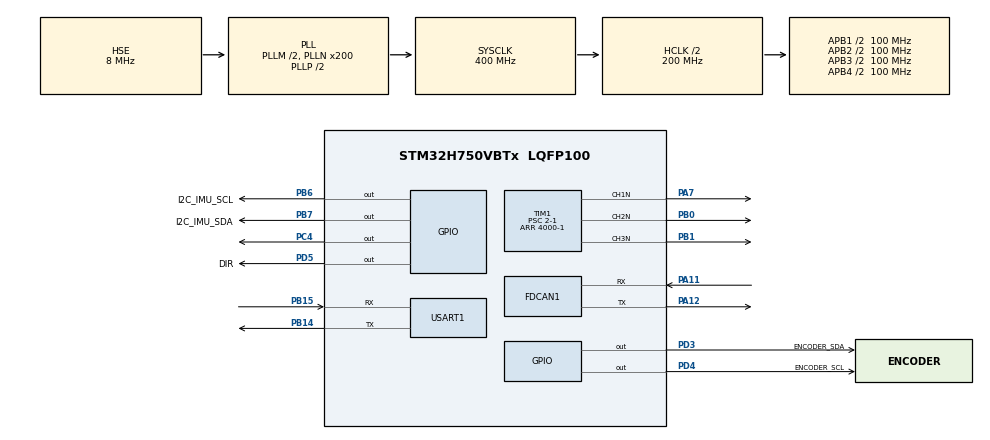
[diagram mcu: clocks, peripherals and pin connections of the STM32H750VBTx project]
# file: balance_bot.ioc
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Dma.Request0=USART1_RX
Dma.Request1=USART1_TX
Dma.USART1_RX.0.Direction=DMA_PERIPH_TO_MEMORY
Dma.USART1_RX.0.EventEnable=DISABLE
Dma.USART1_RX.0.FIFOMode=DMA_FIFOMODE_DISABLE
Dma.USART1_RX.0.Instance=DMA1_Stream4
Dma.USART1_RX.0.MemDataAlignment=DMA_MDATAALIGN_BYTE
Dma.USART1_RX.0.MemInc=DMA_MINC_ENABLE
Dma.USART1_RX.0.Mode=DMA_NORMAL
Dma.USART1_RX.0.PeriphDataAlignment=DMA_PDATAALIGN_BYTE
Dma.USART1_RX.0.PeriphInc=DMA_PINC_DISABLE
Dma.USART1_RX.0.Polarity=HAL_DMAMUX_REQ_GEN_RISING
Dma.USART1_RX.0.Priority=DMA_PRIORITY_LOW
Dma.USART1_RX.0.RequestNumber=1
Dma.USART1_RX.0.SignalID=NONE
Dma.USART1_RX.0.SyncEnable=DISABLE
Dma.USART1_RX.0.SyncPolarity=HAL_DMAMUX_SYNC_NO_EVENT
Dma.USART1_RX.0.SyncRequestNumber=1
Dma.USART1_RX.0.SyncSignalID=NONE
Dma.USART1_TX.1.Direction=DMA_MEMORY_TO_PERIPH
Dma.USART1_TX.1.EventEnable=DISABLE
Dma.USART1_TX.1.FIFOMode=DMA_FIFOMODE_DISABLE
Dma.USART1_TX.1.Instance=DMA1_Stream3
Dma.USART1_TX.1.MemDataAlignment=DMA_MDATAALIGN_BYTE
Dma.USART1_TX.1.MemInc=DMA_MINC_ENABLE
Dma.USART1_TX.1.Mode=DMA_NORMAL
Dma.USART1_TX.1.PeriphDataAlignment=DMA_PDATAALIGN_BYTE
Dma.USART1_TX.1.PeriphInc=DMA_PINC_DISABLE
Dma.USART1_TX.1.Polarity=HAL_DMAMUX_REQ_GEN_RISING
Dma.USART1_TX.1.Priority=DMA_PRIORITY_LOW
Dma.USART1_TX.1.RequestNumber=1
Dma.USART1_TX.1.SignalID=NONE
Dma.USART1_TX.1.SyncEnable=DISABLE
Dma.USART1_TX.1.SyncPolarity=HAL_DMAMUX_SYNC_NO_EVENT
Dma.USART1_TX.1.SyncRequestNumber=1
Dma.USART1_TX.1.SyncSignalID=NONE
FDCAN1.CalculateBaudRateNominal=1000000
FDCAN1.CalculateTimeBitNominal=1000
FDCAN1.CalculateTimeQuantumNominal=50.0
FDCAN1.DataPrescaler=5
FDCAN1.DataSyncJumpWidth=5
FDCAN1.DataTimeSeg1=14
FDCAN1.DataTimeSeg2=5
FDCAN1.NominalPrescaler=5
FDCAN1.NominalSyncJumpWidth=5
FDCAN1.NominalTimeSeg1=14
FDCAN1.NominalTimeSeg2=5
FDCAN1.RxFifo0ElmtsNbr=3
FDCAN1.RxFifo1ElmtsNbr=3
FDCAN1.StdFiltersNbr=2
FDCAN1.TxFifoQueueElmtsNbr=6
FREERTOS.Tasks01=defaultTask,24,128,StartDefaultTask,Default,NULL,Dynamic,NULL,NULL;InstanceTask,24,256,StartInstanceTask,Default,NULL,Dynamic,NULL,NULL;PeripheralTask,24,1024,StartPeripheralTask,Default,NULL,Dynamic,NULL,NULL;WatchDogTask,24,128,StartWatchDogTask,Default,NULL,Dynamic,NULL,NULL
Mcu.Family=STM32H7
Mcu.Name=STM32H750VBTx
Mcu.Package=LQFP100
NVIC.DMA1_Stream3_IRQn=true\:5\:0\:false\:false\:true\:true\:false\:true\:true
NVIC.DMA1_Stream4_IRQn=true\:5\:0\:false\:false\:true\:true\:false\:true\:true
NVIC.FDCAN1_IT0_IRQn=true\:5\:0\:false\:false\:true\:true\:true\:true\:true
NVIC.FDCAN1_IT1_IRQn=true\:5\:0\:false\:false\:true\:true\:true\:true\:true
NVIC.FDCAN_CAL_IRQn=true\:5\:0\:false\:false\:true\:true\:true\:true\:true
NVIC.PriorityGroup=NVIC_PRIORITYGROUP_4
NVIC.TIM7_IRQn=true\:15\:0\:false\:false\:true\:false\:false\:true\:true
NVIC.TimeBase=TIM7_IRQn
NVIC.TimeBaseIP=TIM7
NVIC.USART1_IRQn=true\:5\:0\:true\:false\:true\:true\:true\:true\:true
PA11.Mode=FDCAN_Activate
PA11.Signal=FDCAN1_RX
PA12.Mode=FDCAN_Activate
PA12.Signal=FDCAN1_TX
PA7.Mode=PWM Generation1 CH1N
PA7.Signal=TIM1_CH1N
PB0.Mode=PWM Generation2 CH2N
PB0.Signal=TIM1_CH2N
PB1.Mode=PWM Generation3 CH3N
PB1.Signal=TIM1_CH3N
PB14.Mode=Asynchronous
PB14.Signal=USART1_TX
PB15.Mode=Asynchronous
PB15.Signal=USART1_RX
PB6.GPIO_Label=I2C_IMU_SCL
PB6.GPIO_Speed=GPIO_SPEED_FREQ_MEDIUM
PB6.Signal=GPIO_Output
PB7.GPIO_FM7=__NULL
PB7.GPIO_Label=I2C_IMU_SDA
PB7.GPIO_Speed=GPIO_SPEED_FREQ_MEDIUM
PB7.Signal=GPIO_Output
PC4.Signal=GPIO_Output
PD3.GPIO_Label=ENCODER_SDA
PD3.Signal=GPIO_Output
PD4.GPIO_Label=ENCODER_SCL
PD4.Signal=GPIO_Output
PD5.GPIO_Label=DIR
PD5.Signal=GPIO_Output
PH0-OSC_IN\ (PH0).Mode=HSE-External-Oscillator
PH0-OSC_IN\ (PH0).Signal=RCC_OSC_IN
PH1-OSC_OUT\ (PH1).Mode=HSE-External-Oscillator
PH1-OSC_OUT\ (PH1).Signal=RCC_OSC_OUT
ProjectManager.HeapSize=0x200
ProjectManager.StackSize=0x400
ProjectManager.TargetToolchain=Makefile
RCC.ADCFreq_Value=16125000
RCC.APB1Freq_Value=100000000
RCC.APB2Freq_Value=100000000
RCC.APB3Freq_Value=100000000
RCC.APB4Freq_Value=100000000
RCC.CortexFreq_Value=400000000
RCC.D1PPRE=RCC_APB3_DIV2
RCC.D2PPRE1=RCC_APB1_DIV2
RCC.D2PPRE2=RCC_APB2_DIV2
RCC.D3PPRE=RCC_APB4_DIV2
RCC.DIVM1=2
RCC.DIVN1=200
RCC.DIVQ1=8
RCC.HCLKFreq_Value=200000000
RCC.HPRE=RCC_HCLK_DIV2
RCC.HSE_VALUE=8000000
RCC.PLLFRACN=0
RCC.PLLSourceVirtual=RCC_PLLSOURCE_HSE
RCC.SYSCLKFreq_VALUE=400000000
RCC.SYSCLKSource=RCC_SYSCLKSOURCE_PLLCLK
RCC.USBFreq_Value=100000000
TIM1.Channel-PWM\ Generation1\ CH1N=TIM_CHANNEL_1
TIM1.Channel-PWM\ Generation2\ CH2N=TIM_CHANNEL_2
TIM1.Channel-PWM\ Generation3\ CH3N=TIM_CHANNEL_3
TIM1.CounterMode=TIM_COUNTERMODE_CENTERALIGNED1
TIM1.OC2Preload_PWM=ENABLE
TIM1.Period=4000-1
TIM1.Prescaler=2-1
TIM4.Prescaler=200-1
USART1.FIFOMode=FIFOMODE_DISABLE
USART1.VirtualMode-Asynchronous=VM_ASYNC
VP_FREERTOS_VS_CMSIS_V2.Mode=CMSIS_V2
VP_SYS_VS_tim7.Mode=TIM7
VP_TIM1_VS_ClockSourceINT.Mode=Internal
VP_TIM4_VS_ClockSourceINT.Mode=Internal
board=custom

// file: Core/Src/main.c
/* USER CODE BEGIN Header */
/**
  ******************************************************************************
  * @file           : main.c
  * @brief          : Main program body
  ******************************************************************************
  * @attention
  *
  * Copyright (c) 2023 STMicroelectronics.
  * All rights reserved.
  *
  * This software is licensed under terms that can be found in the LICENSE file
  * in the root directory of this software component.
  * If no LICENSE file comes with this software, it is provided AS-IS.
  *
  ******************************************************************************
  */
/* USER CODE END Header */
#include "main.h"
#include "cmsis_os.h"
#include "dma.h"
#include "fdcan.h"
#include "tim.h"
#include "usart.h"
#include "gpio.h"

/* USER CODE BEGIN Includes */
#include "myfunc.h"
#include "bsp.h"
#include "module.h"
#include "instance.h"
#include "stm32h7xx_hal_usart.h"

/* USER CODE END Includes */

/* USER CODE BEGIN PV */
uint32_t tick = 0;
uint32_t time = 0;

/* USER CODE END PV */

void SystemClock_Config(void);
void MX_FREERTOS_Init(void);

int main(void)
{

  /* MCU Configuration--------------------------------------------------------*/

  /* Reset of all peripherals, Initializes the Flash interface and the Systick. */
  HAL_Init();

  /* Configure the system clock */
  SystemClock_Config();

  /* Initialize all configured peripherals */
  MX_GPIO_Init();
  MX_USART1_UART_Init();
  MX_DMA_Init();
  MX_TIM1_Init();
  MX_FDCAN1_Init();
  MX_TIM4_Init();
  /* USER CODE BEGIN 2 */
  BSP_Init();
  Module_Init();
  Instance_init();
// HAL_DMA_DeInit(huart1.hdmarx);
// HAL_DMA_DeInit(huart1.hdmatx);
// HAL_DMA_Init(huart1.hdmarx);
// HAL_DMA_Init(huart1.hdmatx);
//   HAL_UART_DMAStop(&huart1);
//   HAL_UART_Receive_DMA(&huart1, rxbuf, 100);

  //__USART_DISABLE_IT(&huart1, UART_IT_ERR);

  /* USER CODE END 2 */

  /* Init scheduler */
  osKernelInitialize();  /* Call init function for freertos objects (in freertos.c) */
  MX_FREERTOS_Init();

  /* Start scheduler */
  osKernelStart();

  /* We should never get here as control is now taken by the scheduler */
  /* Infinite loop */
  while (1)
  {

  }
}

void SystemClock_Config(void)
{
  RCC_OscInitTypeDef RCC_OscInitStruct = {0};
  RCC_ClkInitTypeDef RCC_ClkInitStruct = {0};

  /** Supply configuration update enable
  */
  HAL_PWREx_ConfigSupply(PWR_LDO_SUPPLY);

  /** Configure the main internal regulator output voltage
  */
  __HAL_PWR_VOLTAGESCALING_CONFIG(PWR_REGULATOR_VOLTAGE_SCALE1);

  while(!__HAL_PWR_GET_FLAG(PWR_FLAG_VOSRDY)) {}

  /** Initializes the RCC Oscillators according to the specified parameters
  * in the RCC_OscInitTypeDef structure.
  */
  RCC_OscInitStruct.OscillatorType = RCC_OSCILLATORTYPE_HSE;
  RCC_OscInitStruct.HSEState = RCC_HSE_ON;
  RCC_OscInitStruct.PLL.PLLState = RCC_PLL_ON;
  RCC_OscInitStruct.PLL.PLLSource = RCC_PLLSOURCE_HSE;
  RCC_OscInitStruct.PLL.PLLM = 2;
  RCC_OscInitStruct.PLL.PLLN = 200;
  RCC_OscInitStruct.PLL.PLLP = 2;
  RCC_OscInitStruct.PLL.PLLQ = 8;
  RCC_OscInitStruct.PLL.PLLR = 2;
  RCC_OscInitStruct.PLL.PLLRGE = RCC_PLL1VCIRANGE_2;
  RCC_OscInitStruct.PLL.PLLVCOSEL = RCC_PLL1VCOWIDE;
  RCC_OscInitStruct.PLL.PLLFRACN = 0;
  if (HAL_RCC_OscConfig(&RCC_OscInitStruct) != HAL_OK)
  {
    Error_Handler();
  }

  /** Initializes the CPU, AHB and APB buses clocks
  */
  RCC_ClkInitStruct.ClockType = RCC_CLOCKTYPE_HCLK|RCC_CLOCKTYPE_SYSCLK
                              |RCC_CLOCKTYPE_PCLK1|RCC_CLOCKTYPE_PCLK2
                              |RCC_CLOCKTYPE_D3PCLK1|RCC_CLOCKTYPE_D1PCLK1;
  RCC_ClkInitStruct.SYSCLKSource = RCC_SYSCLKSOURCE_PLLCLK;
  RCC_ClkInitStruct.SYSCLKDivider = RCC_SYSCLK_DIV1;
  RCC_ClkInitStruct.AHBCLKDivider = RCC_HCLK_DIV2;
  RCC_ClkInitStruct.APB3CLKDivider = RCC_APB3_DIV2;
  RCC_ClkInitStruct.APB1CLKDivider = RCC_APB1_DIV2;
  RCC_ClkInitStruct.APB2CLKDivider = RCC_APB2_DIV2;
  RCC_ClkInitStruct.APB4CLKDivider = RCC_APB4_DIV2;

  if (HAL_RCC_ClockConfig(&RCC_ClkInitStruct, FLASH_LATENCY_2) != HAL_OK)
  {
    Error_Handler();
  }
}

/* USER CODE BEGIN 4 */

// void HAL_UART_ErrorCallback(UART_HandleTypeDef *huart)
// {
//   HAL_UART_DMAStop(huart);
//   HAL_UART_Receive_DMA(huart, rxbuf, 5);
// }
/* USER CODE END 4 */

void HAL_TIM_PeriodElapsedCallback(TIM_HandleTypeDef *htim)
{
  if (htim->Instance == TIM7) {
    HAL_IncTick();
  }
}

void Error_Handler(void)
{
  __disable_irq();
  while (1)
  {
  }
}

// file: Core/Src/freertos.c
/* USER CODE BEGIN Header */
/**
  ******************************************************************************
  * File Name          : freertos.c
  * Description        : Code for freertos applications
  ******************************************************************************
  * @attention
  *
  * Copyright (c) 2024 STMicroelectronics.
  * All rights reserved.
  *
  * This software is licensed under terms that can be found in the LICENSE file
  * in the root directory of this software component.
  * If no LICENSE file comes with this software, it is provided AS-IS.
  *
  ******************************************************************************
  */
/* USER CODE END Header */

#include "FreeRTOS.h"
#include "task.h"
#include "main.h"
#include "cmsis_os.h"

/* USER CODE BEGIN Includes */
#include "instance.h"
#include "imu.h"
#include "encoder.h"
#include "BLDC_motor_can.h"
#include "watch_dog.h"
/* USER CODE END Includes */

/* Definitions for defaultTask */
osThreadId_t defaultTaskHandle;
const osThreadAttr_t defaultTask_attributes = {
  .name = "defaultTask",
  .stack_size = 128 * 4,
  .priority = (osPriority_t) osPriorityNormal,
};
/* Definitions for InstanceTask */
osThreadId_t InstanceTaskHandle;
const osThreadAttr_t InstanceTask_attributes = {
  .name = "InstanceTask",
  .stack_size = 256 * 4,
  .priority = (osPriority_t) osPriorityNormal,
};
/* Definitions for PeripheralTask */
osThreadId_t PeripheralTaskHandle;
const osThreadAttr_t PeripheralTask_attributes = {
  .name = "PeripheralTask",
  .stack_size = 1024 * 4,
  .priority = (osPriority_t) osPriorityNormal,
};
/* Definitions for WatchDogTask */
osThreadId_t WatchDogTaskHandle;
const osThreadAttr_t WatchDogTask_attributes = {
  .name = "WatchDogTask",
  .stack_size = 128 * 4,
  .priority = (osPriority_t) osPriorityNormal,
};

void StartDefaultTask(void *argument);
void StartInstanceTask(void *argument);
void StartPeripheralTask(void *argument);
void StartWatchDogTask(void *argument);

void MX_FREERTOS_Init(void); /* (MISRA C 2004 rule 8.1) */

void MX_FREERTOS_Init(void) {

  /* Create the thread(s) */
  /* creation of defaultTask */
  defaultTaskHandle = osThreadNew(StartDefaultTask, NULL, &defaultTask_attributes);

  /* creation of InstanceTask */
  InstanceTaskHandle = osThreadNew(StartInstanceTask, NULL, &InstanceTask_attributes);

  /* creation of PeripheralTask */
  PeripheralTaskHandle = osThreadNew(StartPeripheralTask, NULL, &PeripheralTask_attributes);

  /* creation of WatchDogTask */
  WatchDogTaskHandle = osThreadNew(StartWatchDogTask, NULL, &WatchDogTask_attributes);

}

void StartDefaultTask(void *argument)
{
  for(;;)
  {
    osDelay(1);
  }
}

void StartInstanceTask(void *argument)
{
  /* USER CODE BEGIN StartInstanceTask */
  TickType_t xLastWakeTime;
  xLastWakeTime = xTaskGetTickCount();
  /* Infinite loop */
  for(;;)
  {
    Instance_Update();
    vTaskDelayUntil(&xLastWakeTime, pdMS_TO_TICKS(1));
  }
  /* USER CODE END StartInstanceTask */
}

void StartPeripheralTask(void *argument)
{
  /* USER CODE BEGIN StartPeripheralTask */
  TickType_t xLastWakeTime;
  xLastWakeTime = xTaskGetTickCount();
  /* Infinite loop */
  imu_dmp_init();
  for(;;)
  {
    IMU_Update();
    //Encoder_Update();
    BLDC_MotorCan_Send();
    vTaskDelayUntil(&xLastWakeTime, pdMS_TO_TICKS(10));
  }
  /* USER CODE END StartPeripheralTask */
}

void StartWatchDogTask(void *argument)
{
  /* USER CODE BEGIN StartWatchDogTask */
  TickType_t xLastWakeTime;
  xLastWakeTime = xTaskGetTickCount();
  /* Infinite loop */
  for(;;)
  {
    WatchDog_Update();
    vTaskDelayUntil(&xLastWakeTime, pdMS_TO_TICKS(10));
  }
  /* USER CODE END StartWatchDogTask */
}
